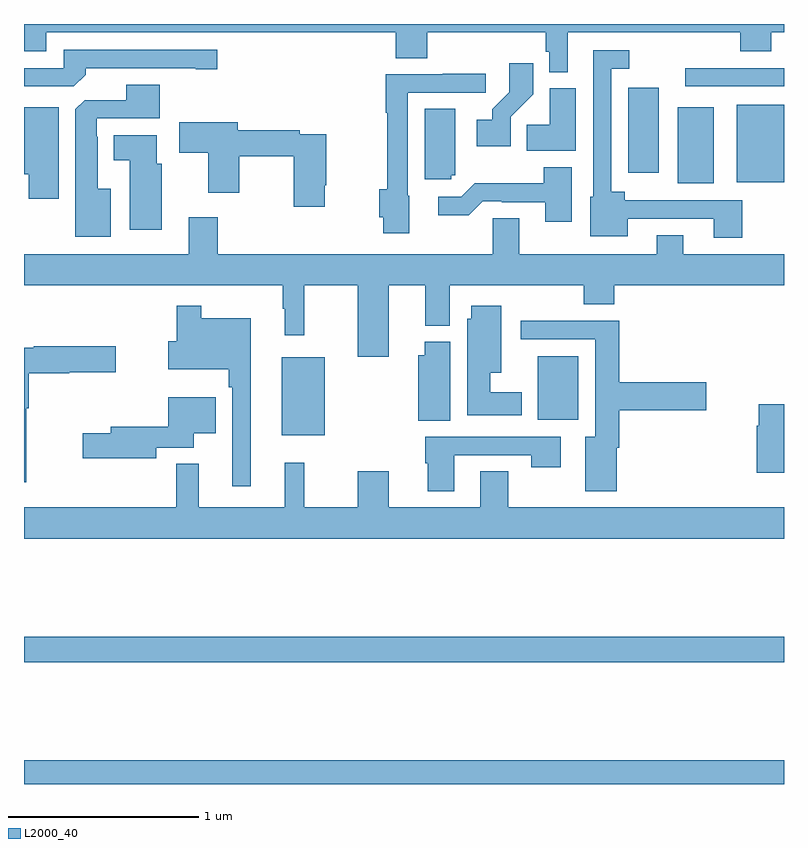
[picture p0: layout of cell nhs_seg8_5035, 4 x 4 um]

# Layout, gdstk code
import gdstk
lib = gdstk.Library(unit=1e-6, precision=1e-09)
def R(c, l, rs):  # rectangles x0, y0, x1, y1
    for r in rs: c.add(gdstk.rectangle(r[:2], r[2:], *l))
def P(c, l, *ps):  # polygons
    for p in ps: c.add(gdstk.Polygon(p, *l))
L2000_40 = (2000, 40)

nhs_seg8_5035 = lib.new_cell('nhs_seg8_5035')
R(nhs_seg8_5035, L2000_40, [(415,1089.9,419,1090.024), (415,1090.54,419,1090.676), (416.357,1091.735,416.584,1092.145), (417.704,1091.816,417.916,1092.151), (418.442,1093.061,418.63,1093.462), (418.751,1093.067,419,1093.474), (418.181,1093.116,418.342,1093.564), (418.479,1093.572,419,1093.668)])
P(nhs_seg8_5035, L2000_40, [(417.862,1093.856),(418.769,1093.856),(418.769,1093.757),(418.934,1093.757),(418.934,1093.856),(419,1093.856),(419,1093.9),(415,1093.9),(415,1093.757),(415.117,1093.757),(415.117,1093.856),(416.957,1093.856),(416.957,1093.72),(417.122,1093.72),(417.122,1093.856),(417.745,1093.856),(417.745,1093.755),(417.765,1093.755),(417.765,1093.646),(417.862,1093.646)],
  [(415.325,1093.634),(415.325,1093.668),(415.904,1093.668),(415.904,1093.663),(416.017,1093.663),(416.017,1093.764),(415.209,1093.764),(415.209,1093.668),(415,1093.668),(415,1093.572),(415.263,1093.572)],
  [(418.779,1092.972),(418.162,1092.972),(418.162,1093.018),(418.092,1093.018),(418.092,1093.665),(418.186,1093.665),(418.186,1093.761),(417.996,1093.761),(417.996,1092.99),(417.98,1092.99),(417.98,1092.782),(418.177,1092.782),(418.177,1092.876),(418.631,1092.876),(418.631,1092.774),(418.779,1092.774)],
  [(417.561,1093.411),(417.68,1093.53),(417.68,1093.693),(417.555,1093.693),(417.555,1093.541),(417.464,1093.451),(417.464,1093.396),(417.384,1093.396),(417.384,1093.256),(417.561,1093.256)],
  [(417.028,1092.996),(417.021,1092.996),(417.021,1093.539),(417.43,1093.539),(417.43,1093.638),(417.205,1093.638),(417.205,1093.635),(416.905,1093.635),(416.905,1093.432),(416.913,1093.432),(416.913,1093.031),(416.87,1093.031),(416.87,1092.882),(416.892,1092.882),(416.892,1092.8),(417.028,1092.8)],
  [(415.456,1093.033),(415.387,1093.033),(415.387,1093.307),(415.383,1093.307),(415.383,1093.404),(415.714,1093.404),(415.714,1093.579),(415.538,1093.579),(415.538,1093.5),(415.32,1093.5),(415.271,1093.451),(415.271,1092.779),(415.456,1092.779)],
  [(417.904,1093.561),(417.767,1093.561),(417.767,1093.37),(417.646,1093.37),(417.646,1093.232),(417.904,1093.232)],
  [(415.183,1093.462),(415,1093.462),(415,1093.109),(415.025,1093.109),(415.025,1092.981),(415.183,1092.981)],
  [(417.249,1093.104),(417.271,1093.104),(417.271,1093.453),(417.11,1093.453),(417.11,1093.083),(417.249,1093.083)],
  [(416.584,1093.051),(416.592,1093.051),(416.592,1093.32),(416.45,1093.32),(416.45,1093.34),(416.125,1093.34),(416.125,1093.384),(415.818,1093.384),(415.818,1093.222),(415.97,1093.222),(415.97,1093.011),(416.133,1093.011),(416.133,1093.204),(416.419,1093.204),(416.419,1092.939),(416.584,1092.939)],
  [(415.726,1093.164),(415.699,1093.164),(415.699,1093.315),(415.472,1093.315),(415.472,1093.184),(415.556,1093.184),(415.556,1092.816),(415.726,1092.816)],
  [(417.883,1093.147),(417.736,1093.147),(417.736,1093.063),(417.373,1093.063),(417.3,1092.99),(417.18,1092.99),(417.18,1092.893),(417.341,1092.893),(417.414,1092.966),(417.514,1092.966),(417.514,1092.963),(417.743,1092.963),(417.743,1092.858),(417.883,1092.858)],
  [(416.92,1092.524),(417.113,1092.524),(417.113,1092.313),(417.241,1092.313),(417.241,1092.524),(417.946,1092.524),(417.946,1092.425),(418.106,1092.425),(418.106,1092.524),(419,1092.524),(419,1092.688),(418.471,1092.688),(418.471,1092.787),(418.331,1092.787),(418.331,1092.688),(417.607,1092.688),(417.607,1092.878),(417.468,1092.878),(417.468,1092.688),(416.021,1092.688),(416.021,1092.883),(415.868,1092.883),(415.868,1092.688),(415,1092.688),(415,1092.524),(416.361,1092.524),(416.361,1092.401),(416.372,1092.401),(416.372,1092.261),(416.474,1092.261),(416.474,1092.524),(416.756,1092.524),(416.756,1092.15),(416.92,1092.15)],
  [(417.619,1091.962),(417.454,1091.962),(417.454,1092.065),(417.511,1092.065),(417.511,1092.418),(417.353,1092.418),(417.353,1092.348),(417.332,1092.348),(417.332,1091.84),(417.619,1091.84)],
  [(416.194,1092.352),(415.933,1092.352),(415.933,1092.418),(415.804,1092.418),(415.804,1092.231),(415.76,1092.231),(415.76,1092.083),(416.077,1092.083),(416.077,1091.987),(416.097,1091.987),(416.097,1091.466),(416.194,1091.466)],
  [(418.12,1091.669),(418.133,1091.669),(418.133,1091.867),(418.591,1091.867),(418.591,1092.014),(418.133,1092.014),(418.133,1092.338),(417.615,1092.338),(417.615,1092.24),(418.007,1092.24),(418.007,1091.728),(417.953,1091.728),(417.953,1091.442),(418.12,1091.442)],
  [(417.244,1092.228),(417.11,1092.228),(417.11,1092.156),(417.074,1092.156),(417.074,1091.812),(417.244,1091.812)],
  [(415.012,1091.878),(415.025,1091.878),(415.025,1092.062),(415.239,1092.062),(415.239,1092.067),(415.483,1092.067),(415.483,1092.204),(415.051,1092.204),(415.051,1092.196),(415,1092.196),(415,1091.489),(415.012,1091.489)],
  [(415.696,1091.67),(415.894,1091.67),(415.894,1091.747),(416.008,1091.747),(416.008,1091.935),(415.76,1091.935),(415.76,1091.779),(415.457,1091.779),(415.457,1091.745),(415.308,1091.745),(415.308,1091.615),(415.696,1091.615)],
  [(419,1091.899),(418.868,1091.899),(418.868,1091.786),(418.856,1091.786),(418.856,1091.538),(419,1091.538)],
  [(417.265,1091.631),(417.67,1091.631),(417.67,1091.568),(417.826,1091.568),(417.826,1091.727),(417.113,1091.727),(417.113,1091.589),(417.125,1091.589),(417.125,1091.442),(417.265,1091.442)],
  [(419,1091.356),(417.549,1091.356),(417.549,1091.546),(417.401,1091.546),(417.401,1091.356),(416.92,1091.356),(416.92,1091.545),(416.756,1091.545),(416.756,1091.356),(416.474,1091.356),(416.474,1091.59),(416.372,1091.59),(416.372,1091.356),(415.919,1091.356),(415.919,1091.585),(415.801,1091.585),(415.801,1091.356),(415,1091.356),(415,1091.192),(419,1091.192)])

lib.write_gds('nhs_seg8_5035.gds')
